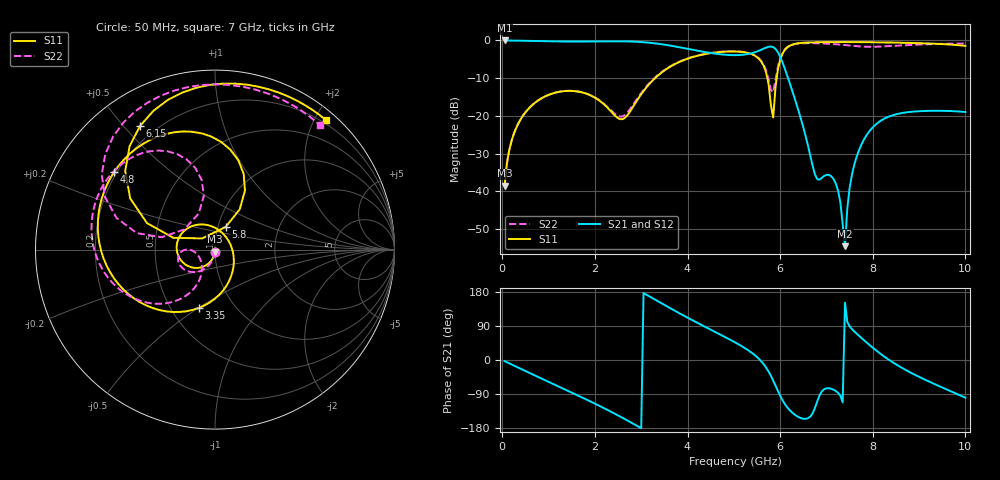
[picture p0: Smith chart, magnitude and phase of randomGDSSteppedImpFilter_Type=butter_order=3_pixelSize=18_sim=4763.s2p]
! freq	dB(S11)	phase(S11)	dB(S12)	phase(S12)
!  dB(S21)	phase(S21)	dB(S22)	phase(S22)
!S-par simulation data
#  GHz  S  DB  R 50
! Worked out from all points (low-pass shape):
!   200 points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, 50 MHz to 10 GHz, reference 50 ohm
!   highest |S21| = 0.00 dB at 50 MHz (marker M1); lowest = -54.6 dB at 7.4 GHz (marker M2)
!   |S21| within 3 dB of the highest: start of sweep to 4.339 GHz; 5.485 GHz to 5.944 GHz (459.1 MHz wide, 8.03 % of centre)
!   lowest |S11| = -38.6 dB at 50 MHz (marker M3), VSWR 1.02, Z = 49.9 - j1.17 ohm
!   |S11| at or under -10 dB: start of sweep to 3.299 GHz; 5.723 GHz to 5.926 GHz (203 MHz wide, 3.49 % of centre)
!   |S22| runs from -38.6 to -0.7 dB; largest |S21 - S12| = 0
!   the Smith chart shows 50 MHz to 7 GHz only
!   S11 on the Smith chart (normalised r, x): 50 MHz: 1.00, -0.02; 3.35 GHz: 0.68, -0.50; 4.8 GHz: 0.19, +0.33; 5.8 GHz: 1.09, +0.28; 6.15 GHz: 0.14, +0.55; 7 GHz: 0.15, +2.17
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0.05  -38.57 -93.4  -0.00 -3.0  -0.00 -3.0  -38.62 -92.3
0.2  -26.65 -103.3  -0.03 -11.8  -0.03 -11.8  -26.64 -100.3
0.55  -18.35 -126.4  -0.10 -32.0  -0.10 -32.0  -18.33 -118.2
1.75  -13.88 150.2  -0.30 -100.4  -0.30 -100.4  -13.84 -171.7
2.6  -20.88 19.9  -0.24 -152.9  -0.24 -152.9  -20.14 -146.4
3.35  -9.43 -105.6  -0.86 155.7  -0.86 155.7  -9.26 -125.9
3.4  -8.91 -110.4  -0.94 152.2  -0.94 152.2  -8.75 -128.0
4.8  -2.99 142.3  -3.79 61.3  -3.79 61.3  -2.92 160.3
5.05  -2.94 124.6  -3.90 45.0  -3.90 45.0  -2.88 146.4
5.6  -5.76 75.5  -2.43 -4.6  -2.43 -4.6  -5.55 107.5
5.8  -17.15 64.9  -1.61 -41.6  -1.61 -41.6  -13.16 114.5
6.15  -1.88 121.2  -9.22 -124.4  -9.22 -124.4  -1.83 139.0
6.7  -0.50 68.2  -33.20 -141.1  -33.20 -141.1  -0.72 80.5
7  -0.44 49.4  -35.67 -74.7  -35.67 -74.7  -0.84 49.8
7.25  -0.43 35.2  -39.82 -86.5  -39.82 -86.5  -1.06 19.1
7.4  -0.42 27.2  -54.59 151.2  -54.59 151.2  -1.23 -2.4
7.5  -0.42 21.9  -39.17 89.0  -39.17 89.0  -1.35 -18.2
7.65  -0.43 14.2  -30.91 69.7  -30.91 69.7  -1.52 -43.6
7.95  -0.47 -0.8  -23.75 37.5  -23.75 37.5  -1.69 -96.4
8.35  -0.55 -20.0  -20.19 0.4  -20.19 0.4  -1.49 -156.4
9.1  -0.76 -56.1  -18.72 -50.4  -18.72 -50.4  -1.03 133.4
10  -1.44 -109.7  -18.99 -99.5  -18.99 -99.5  -0.80 81.8
